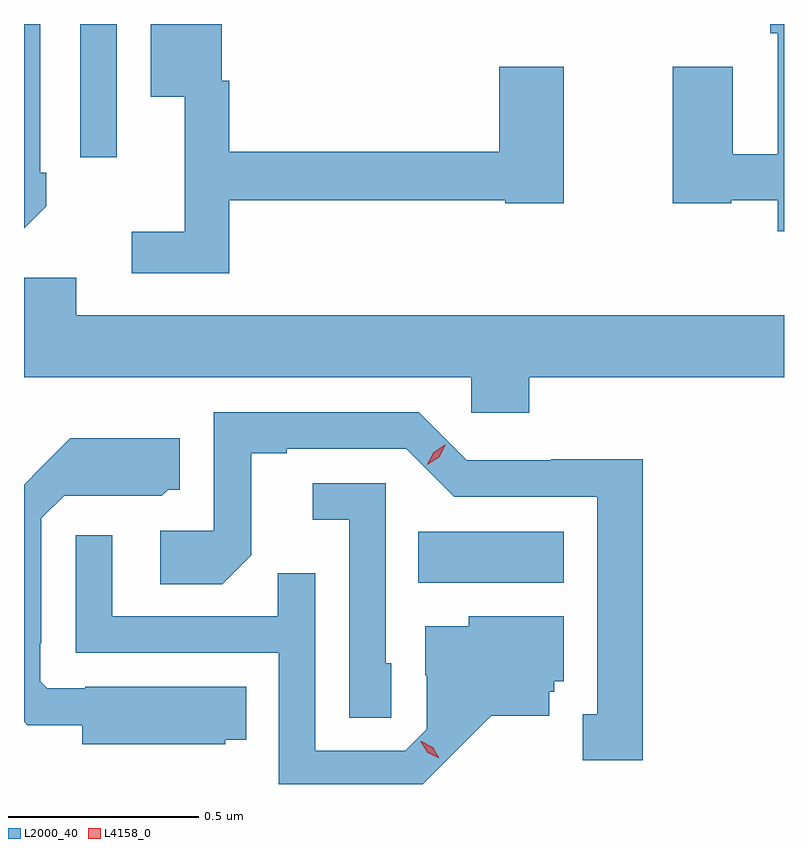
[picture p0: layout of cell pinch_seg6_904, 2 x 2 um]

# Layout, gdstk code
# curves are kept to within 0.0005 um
import gdstk
lib = gdstk.Library(unit=1e-6, precision=1e-09)
def R(c, l, rs):  # rectangles x0, y0, x1, y1
    for r in rs: c.add(gdstk.rectangle(r[:2], r[2:], *l))
def P(c, l, *ps):  # polygons
    for p in ps: c.add(gdstk.Polygon(p, *l))
L2000_40 = (2000, 40)
L4158_0 = (4158, 0)

pinch_seg6_904 = lib.new_cell('pinch_seg6_904')
R(pinch_seg6_904, L2000_40, [(143.14,986.756,143.524,986.89), (142.251,987.876,142.347,988.226)])
P(pinch_seg6_904, L2000_40, [(142.161,987.747),(142.161,987.835),(142.146,987.835),(142.146,988.226),(142.103,988.226),(142.103,987.689)],
  [(144.103,988.226),(144.067,988.226),(144.067,988.202),(144.087,988.202),(144.087,987.883),(143.968,987.883),(143.968,988.114),(143.81,988.114),(143.81,987.754),(143.964,987.754),(143.964,987.762),(144.087,987.762),(144.087,987.681),(144.103,987.681)],
  [(142.643,987.762),(143.37,987.762),(143.37,987.754),(143.524,987.754),(143.524,988.114),(143.354,988.114),(143.354,987.89),(142.643,987.89),(142.643,988.077),(142.624,988.077),(142.624,988.226),(142.436,988.226),(142.436,988.034),(142.526,988.034),(142.526,987.679),(142.386,987.679),(142.386,987.57),(142.643,987.57)],
  [(143.432,987.296),(144.103,987.296),(144.103,987.46),(142.24,987.46),(142.24,987.558),(142.103,987.558),(142.103,987.296),(143.28,987.296),(143.28,987.203),(143.432,987.203)],
  [(143.731,987.08),(143.49,987.08),(143.49,987.078),(143.268,987.078),(143.142,987.204),(142.602,987.204),(142.602,986.892),(142.461,986.892),(142.461,986.752),(142.625,986.752),(142.701,986.828),(142.701,987.096),(142.795,987.096),(142.795,987.108),(143.109,987.108),(143.235,986.982),(143.612,986.982),(143.612,986.409),(143.573,986.409),(143.573,986.289),(143.731,986.289)],
  [(142.632,986.342),(142.688,986.342),(142.688,986.482),(142.264,986.482),(142.264,986.478),(142.164,986.478),(142.146,986.496),(142.146,986.596),(142.149,986.596),(142.149,986.925),(142.209,986.985),(142.332,986.985),(142.332,986.984),(142.466,986.984),(142.482,987),(142.513,987),(142.513,987.136),(142.225,987.136),(142.103,987.013),(142.103,986.39),(142.112,986.381),(142.256,986.381),(142.256,986.33),(142.632,986.33)],
  [(143.07,986.544),(143.055,986.544),(143.055,987.018),(142.863,987.018),(142.863,986.921),(142.959,986.921),(142.959,986.401),(143.07,986.401)],
  [(143.23,986.303),(143.333,986.405),(143.485,986.405),(143.485,986.469),(143.499,986.469),(143.499,986.496),(143.524,986.496),(143.524,986.668),(143.274,986.668),(143.274,986.641),(143.159,986.641),(143.159,986.512),(143.163,986.512),(143.163,986.37),(143.106,986.313),(142.869,986.313),(142.869,986.78),(142.771,986.78),(142.771,986.667),(142.335,986.667),(142.335,986.881),(142.239,986.881),(142.239,986.571),(142.773,986.571),(142.773,986.226),(143.152,986.226)])
P(pinch_seg6_904, L4158_0, [(143.164,987.066),(143.164,987.067),(143.181,987.099),(143.212,987.119),(143.212,987.119),(143.212,987.118),(143.196,987.086),(143.164,987.066)],
  [(143.196,986.294),(143.165,986.308),(143.147,986.337),(143.147,986.338),(143.148,986.338),(143.178,986.323),(143.196,986.294),(143.196,986.294)])

lib.write_gds('pinch_seg6_904.gds')
